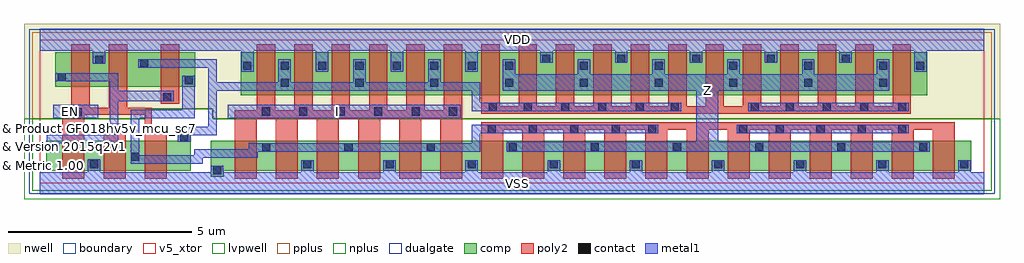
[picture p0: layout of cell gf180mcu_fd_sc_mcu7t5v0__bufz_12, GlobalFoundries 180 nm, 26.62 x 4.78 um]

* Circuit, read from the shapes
.subckt gf180mcu_fd_sc_mcu7t5v0__bufz_12 EN I VDD VSS Z
XM1 VSS EN n1 VSUBS nfet_05v0 w=0.82u l=0.6u
XM2 n2 n1 VSS VSUBS nfet_05v0 w=0.82u l=0.6u
XM3 n3 EN n2 VSUBS nfet_05v0 w=0.82u l=0.6u
XM4 n2 I VSS VSUBS nfet_05v0 w=0.82u l=0.6u m=6
XM5 Z n2 VSS VSUBS nfet_05v0 w=0.82u l=0.6u m=12
XM6 VDD EN n1 n4 pfet_05v0 w=0.945u l=0.5u
XM7 n3 EN VDD n4 pfet_05v0 w=0.945u l=0.5u
XM8 n2 n1 n3 n4 pfet_05v0 w=0.945u l=0.5u
XM9 n3 I VDD n4 pfet_05v0 w=1.175u l=0.5u m=6
XM10 Z n3 VDD n4 pfet_05v0 w=1.175u l=0.5u m=12
.ends

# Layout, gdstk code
import gdstk
lib = gdstk.Library(unit=1e-6, precision=1e-09)
def R(c, l, rs):  # rectangles x0, y0, x1, y1
    for r in rs: c.add(gdstk.rectangle(r[:2], r[2:], *l))
def A(c, l, x, y, w, h, nx, ny, dx, dy):  # array of equal rectangles
    R(c, l, [(x+i*dx, y+j*dy, x+i*dx+w, y+j*dy+h) for i in range(nx) for j in range(ny)])
def P(c, l, *ps):  # polygons
    for p in ps: c.add(gdstk.Polygon(p, *l))
boundary = (0, 0)
nwell = (21, 0)
comp = (22, 0)
poly2 = (30, 0)
pplus = (31, 0)
nplus = (32, 0)
contact = (33, 0)
metal1 = (34, 0)
dualgate = (55, 0)
v5_xtor = (112, 1)
lvpwell = (204, 0)

gf180mcu_fd_sc_mcu7t5v0_ = lib.new_cell('gf180mcu_fd_sc_mcu7t5v0__bufz_12')
R(gf180mcu_fd_sc_mcu7t5v0_, boundary, [(0,0,25.76,3.92)])
P(gf180mcu_fd_sc_mcu7t5v0_, nwell, [(-0.43,1.76),(-0.43,4.35),(26.19,4.35),(26.19,1.76),(4.715,1.76),(4.715,2.035),(2.875,2.035),(2.875,1.76)])
R(gf180mcu_fd_sc_mcu7t5v0_, comp, [(5.48,2.405,24.2,3.58), (0.42,2.635,4.24,3.58)])
P(gf180mcu_fd_sc_mcu7t5v0_, comp, [(0.18,0.34),(0.18,1.16),(3.76,1.16),(3.76,1.435),(4.12,1.435),(4.12,0.34)],
  [(4.66,0.18),(4.66,1.16),(25.4,1.16),(25.4,0.34),(5.02,0.34),(5.02,0.18)])
R(gf180mcu_fd_sc_mcu7t5v0_, poly2, [(1.74,0.12,2.34,1.62), (3.3,2.17,3.8,3.8)])
P(gf180mcu_fd_sc_mcu7t5v0_, poly2, [(0.62,0.12),(0.62,2.065),(0.86,2.065),(0.86,3.8),(1.36,3.8),(1.36,2.065),(1.88,2.065),(1.88,3.8),(2.38,3.8),(2.38,2.065),(3.06,2.065),(3.06,1.44),(3.46,1.44),(3.46,0.12),(2.86,0.12),(2.86,1.865),(1.22,1.865),(1.22,0.12)],
  [(5.32,0.12),(5.32,1.995),(5.92,1.995),(5.92,3.8),(6.42,3.8),(6.42,1.995),(6.94,1.995),(6.94,3.8),(7.44,3.8),(7.44,1.995),(7.96,1.995),(7.96,3.8),(8.46,3.8),(8.46,1.995),(8.98,1.995),(8.98,3.8),(9.48,3.8),(9.48,1.995),(10,1.995),(10,3.8),(10.5,3.8),(10.5,1.995),(11.02,1.995),(11.02,3.8),(11.52,3.8),(11.52,0.12),(10.92,0.12),(10.92,1.745),(10.4,1.745),(10.4,0.12),(9.8,0.12),(9.8,1.745),(9.28,1.745),(9.28,0.12),(8.68,0.12),(8.68,1.745),(8.16,1.745),(8.16,0.12),(7.56,0.12),(7.56,1.745),(7.04,1.745),(7.04,0.12),(6.44,0.12),(6.44,1.745),(5.92,1.745),(5.92,0.12)],
  [(12.04,1.9),(12.04,3.8),(12.54,3.8),(12.54,2.1),(13.06,2.1),(13.06,3.8),(13.56,3.8),(13.56,2.1),(14.08,2.1),(14.08,3.8),(14.58,3.8),(14.58,2.1),(15.1,2.1),(15.1,3.8),(15.6,3.8),(15.6,2.1),(16.12,2.1),(16.12,3.8),(16.62,3.8),(16.62,2.1),(17.14,2.1),(17.14,3.8),(17.64,3.8),(17.64,2.1),(18.16,2.1),(18.16,3.8),(18.66,3.8),(18.66,2.1),(19.18,2.1),(19.18,3.8),(19.68,3.8),(19.68,2.1),(20.2,2.1),(20.2,3.8),(20.7,3.8),(20.7,2.1),(21.22,2.1),(21.22,3.8),(21.72,3.8),(21.72,2.1),(22.24,2.1),(22.24,3.8),(22.74,3.8),(22.74,2.1),(23.26,2.1),(23.26,3.8),(23.76,3.8),(23.76,1.9)],
  [(12.04,0.12),(12.04,1.66),(24.96,1.66),(24.96,0.12),(24.36,0.12),(24.36,1.46),(23.84,1.46),(23.84,0.12),(23.24,0.12),(23.24,1.46),(22.72,1.46),(22.72,0.12),(22.12,0.12),(22.12,1.46),(21.6,1.46),(21.6,0.12),(21,0.12),(21,1.46),(20.48,1.46),(20.48,0.12),(19.88,0.12),(19.88,1.46),(19.36,1.46),(19.36,0.12),(18.76,0.12),(18.76,1.46),(18.24,1.46),(18.24,0.12),(17.64,0.12),(17.64,1.46),(17.12,1.46),(17.12,0.12),(16.52,0.12),(16.52,1.46),(16,1.46),(16,0.12),(15.4,0.12),(15.4,1.46),(14.88,1.46),(14.88,0.12),(14.28,0.12),(14.28,1.46),(13.76,1.46),(13.76,0.12),(13.16,0.12),(13.16,1.46),(12.64,1.46),(12.64,0.12)])
P(gf180mcu_fd_sc_mcu7t5v0_, pplus, [(-0.2,1.76),(-0.2,4.12),(25.96,4.12),(25.96,1.76),(4.715,1.76),(4.715,2.035),(2.875,2.035),(2.875,1.76)])
P(gf180mcu_fd_sc_mcu7t5v0_, nplus, [(-0.2,-0.2),(-0.2,1.76),(2.875,1.76),(2.875,2.035),(4.715,2.035),(4.715,1.76),(25.96,1.76),(25.96,-0.2)])
A(gf180mcu_fd_sc_mcu7t5v0_, contact, 7.19, 0.41, 0.22, 0.22, 9, 1, 2.24, 0)
A(gf180mcu_fd_sc_mcu7t5v0_, contact, 6.07, 0.87, 0.22, 0.22, 9, 1, 2.24, 0)
A(gf180mcu_fd_sc_mcu7t5v0_, contact, 6.06, 1.85, 0.22, 0.22, 6, 1, 1.02, 0)
A(gf180mcu_fd_sc_mcu7t5v0_, contact, 20.34, 1.97, 0.22, 0.22, 3, 1, 1.02, 0)
A(gf180mcu_fd_sc_mcu7t5v0_, contact, 6.57, 2.63, 0.22, 0.22, 9, 1, 2.04, 0)
A(gf180mcu_fd_sc_mcu7t5v0_, contact, 5.55, 3.1, 0.22, 0.22, 8, 1, 1.02, 0)
A(gf180mcu_fd_sc_mcu7t5v0_, contact, 14.73, 3.1, 0.22, 0.22, 5, 1, 2.04, 0)
A(gf180mcu_fd_sc_mcu7t5v0_, contact, 13.71, 3.29, 0.22, 0.22, 5, 1, 2.04, 0)
R(gf180mcu_fd_sc_mcu7t5v0_, contact, [(4.73,0.25,4.95,0.47), (1.37,0.415,1.59,0.635), (2.49,0.62,2.71,0.84), (0.25,0.87,0.47,1.09), (3.83,1.145,4.05,1.365), (1.91,1.33,2.13,1.55), (12.22,1.37,12.44,1.59), (13.34,1.37,13.56,1.59), (14.465,1.37,14.685,1.59), (15.595,1.37,15.815,1.59), (16.59,1.37,16.81,1.59), (19.07,1.37,19.29,1.59), (20.07,1.37,20.29,1.59), (21.185,1.37,21.405,1.59), (22.315,1.37,22.535,1.59), (23.415,1.37,23.635,1.59), (0.93,1.835,1.15,2.055), (12.25,1.97,12.47,2.19), (13.195,1.97,13.415,2.19), (14.22,1.97,14.44,2.19), (15.23,1.97,15.45,2.19), (16.25,1.97,16.47,2.19), (17.21,1.97,17.43,2.19), (19.39,1.97,19.61,2.19), (23.415,1.97,23.635,2.19), (3.37,2.24,3.59,2.46), (3.95,2.705,4.17,2.925), (0.49,2.785,0.71,3.005), (23.91,3.1,24.13,3.32), (2.745,3.165,2.965,3.385), (1.51,3.265,1.73,3.485)])
R(gf180mcu_fd_sc_mcu7t5v0_, metal1, [(19.01,1.365,23.705,1.595), (0.37,1.77,1.59,2.15), (5.125,1.77,11.48,2.15), (19.33,1.965,23.705,2.195)])
P(gf180mcu_fd_sc_mcu7t5v0_, metal1, [(0.19,0.85),(0.19,1.325),(1.905,1.325),(1.905,2.78),(0.42,2.78),(0.42,3.01),(2.135,3.01),(2.135,2.52),(3.65,2.52),(3.65,2.235),(2.135,2.235),(2.135,1.095),(0.53,1.095),(0.53,0.85)],
  [(2.485,0.53),(2.485,2.005),(3.89,2.005),(3.89,2.93),(4.23,2.93),(4.23,1.775),(2.715,1.775),(2.715,0.76),(4.215,0.76),(4.215,0.935),(5.695,0.935),(5.695,1.095),(11.78,1.095),(11.78,1.595),(16.875,1.595),(16.875,1.365),(12.01,1.365),(12.01,0.865),(5.945,0.865),(5.945,0.705),(4.44,0.705),(4.44,0.53)],
  [(3.77,1.14),(3.77,1.545),(4.595,1.545),(4.595,3.16),(2.685,3.16),(2.685,3.39),(4.825,3.39),(4.825,2.76),(6.51,2.76),(6.51,3.38),(6.85,3.38),(6.85,2.76),(8.55,2.76),(8.55,3.38),(8.89,3.38),(8.89,2.76),(10.59,2.76),(10.59,3.38),(10.93,3.38),(10.93,2.76),(12.01,2.76),(12.01,2.195),(17.49,2.195),(17.49,1.965),(11.78,1.965),(11.78,2.53),(4.825,2.53),(4.825,1.315),(4.11,1.315),(4.11,1.14)],
  [(12.73,0.865),(12.73,1.135),(17.9,1.135),(17.9,2.53),(12.63,2.53),(12.63,3.38),(12.97,3.38),(12.97,2.97),(14.67,2.97),(14.67,3.38),(15.01,3.38),(15.01,2.97),(16.71,2.97),(16.71,3.38),(17.05,3.38),(17.05,2.97),(18.75,2.97),(18.75,3.38),(19.09,3.38),(19.09,2.97),(20.79,2.97),(20.79,3.38),(21.13,3.38),(21.13,2.97),(22.83,2.97),(22.83,3.38),(23.17,3.38),(23.17,2.53),(18.5,2.53),(18.5,1.135),(24.27,1.135),(24.27,0.865)],
  [(0,-0.3),(0,0.3),(1.31,0.3),(1.31,0.655),(1.65,0.655),(1.65,0.3),(4.67,0.3),(4.67,0.475),(5.01,0.475),(5.01,0.3),(7.13,0.3),(7.13,0.635),(7.47,0.635),(7.47,0.3),(9.37,0.3),(9.37,0.635),(9.71,0.635),(9.71,0.3),(11.61,0.3),(11.61,0.635),(11.95,0.635),(11.95,0.3),(13.85,0.3),(13.85,0.635),(14.19,0.635),(14.19,0.3),(16.09,0.3),(16.09,0.635),(16.43,0.635),(16.43,0.3),(18.33,0.3),(18.33,0.635),(18.67,0.635),(18.67,0.3),(20.57,0.3),(20.57,0.635),(20.91,0.635),(20.91,0.3),(22.81,0.3),(22.81,0.635),(23.15,0.635),(23.15,0.3),(25.05,0.3),(25.05,0.635),(25.39,0.635),(25.39,0.3),(25.76,0.3),(25.76,-0.3)],
  [(5.49,3.04),(5.49,3.62),(1.79,3.62),(1.79,3.26),(1.45,3.26),(1.45,3.62),(0,3.62),(0,4.22),(25.76,4.22),(25.76,3.62),(24.19,3.62),(24.19,3.04),(23.85,3.04),(23.85,3.62),(22.15,3.62),(22.15,3.285),(21.81,3.285),(21.81,3.62),(20.11,3.62),(20.11,3.285),(19.77,3.285),(19.77,3.62),(18.07,3.62),(18.07,3.285),(17.73,3.285),(17.73,3.62),(16.03,3.62),(16.03,3.285),(15.69,3.285),(15.69,3.62),(13.99,3.62),(13.99,3.285),(13.65,3.285),(13.65,3.62),(11.95,3.62),(11.95,3.04),(11.61,3.04),(11.61,3.62),(9.91,3.62),(9.91,3.04),(9.57,3.04),(9.57,3.62),(7.87,3.62),(7.87,3.04),(7.53,3.04),(7.53,3.62),(5.83,3.62),(5.83,3.04)])
R(gf180mcu_fd_sc_mcu7t5v0_, dualgate, [(-0.28,-0.28,26.04,4.2)])
R(gf180mcu_fd_sc_mcu7t5v0_, v5_xtor, [(0,0,25.76,3.92)])
P(gf180mcu_fd_sc_mcu7t5v0_, lvpwell, [(-0.43,-0.43),(-0.43,1.76),(2.875,1.76),(2.875,2.035),(4.715,2.035),(4.715,1.76),(26.19,1.76),(26.19,-0.43)])
gf180mcu_fd_sc_mcu7t5v0_.add(gdstk.Label('VDD', (13.03,3.92), layer=34, texttype=10))
gf180mcu_fd_sc_mcu7t5v0_.add(gdstk.Label('VSS', (13.03,0), layer=34, texttype=10))
gf180mcu_fd_sc_mcu7t5v0_.add(gdstk.Label('I', (8.12,1.96), layer=34, texttype=10))
gf180mcu_fd_sc_mcu7t5v0_.add(gdstk.Label('Z', (18.2,2.52), layer=34, texttype=10))
gf180mcu_fd_sc_mcu7t5v0_.add(gdstk.Label('EN', (0.84,1.96), layer=34, texttype=10))
gf180mcu_fd_sc_mcu7t5v0_.add(gdstk.Label('& Vendor GLOBALFOUNDRIES', (0,2), layer=63, texttype=63))
gf180mcu_fd_sc_mcu7t5v0_.add(gdstk.Label('& Product GF018hv5v_mcu_sc7', (0,1.5), layer=63, texttype=63))
gf180mcu_fd_sc_mcu7t5v0_.add(gdstk.Label('& Version 2015q2v1', (0,1), layer=63, texttype=63))
gf180mcu_fd_sc_mcu7t5v0_.add(gdstk.Label('& Metric 1.00', (0,0.5), layer=63, texttype=63))

lib.write_gds('gf180mcu_fd_sc_mcu7t5v0__bufz_12.gds')
